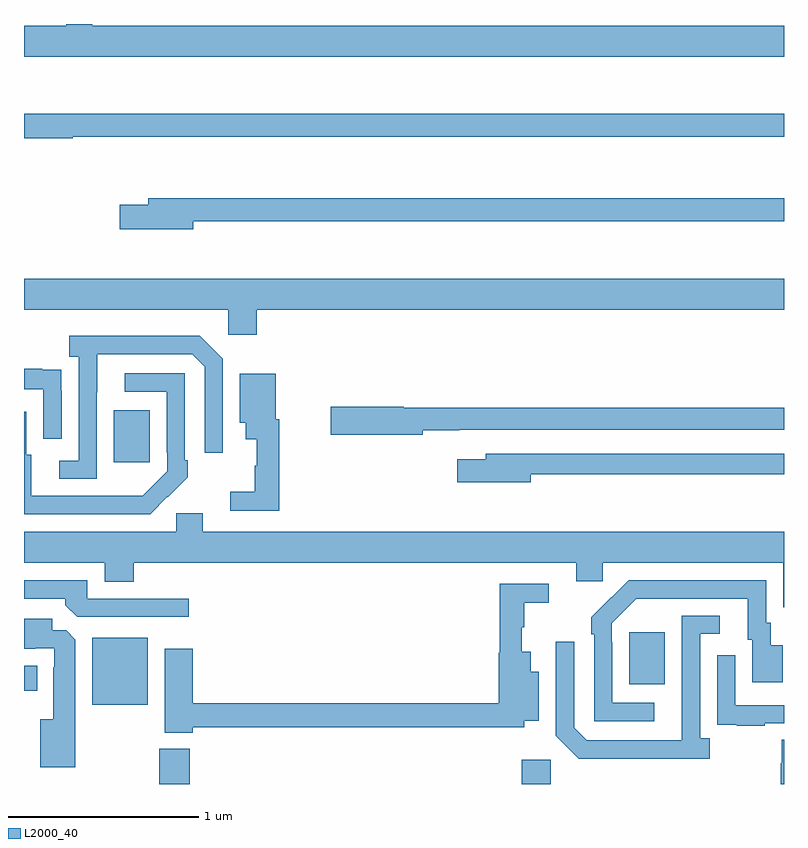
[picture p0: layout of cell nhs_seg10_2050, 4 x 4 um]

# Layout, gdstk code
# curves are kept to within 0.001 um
import gdstk
lib = gdstk.Library(unit=1e-6, precision=1e-09)
def R(c, l, rs):  # rectangles x0, y0, x1, y1
    for r in rs: c.add(gdstk.rectangle(r[:2], r[2:], *l))
def P(c, l, *ps):  # polygons
    for p in ps: c.add(gdstk.Polygon(p, *l))
L2000_40 = (2000, 40)

nhs_seg10_2050 = lib.new_cell('nhs_seg10_2050')
R(nhs_seg10_2050, L2000_40, [(219.712,1284.5,219.872,1284.685), (221.621,1284.5,221.772,1284.628), (219.359,1284.917,219.652,1285.27), (219,1284.992,219.07,1285.123), (222.185,1285.025,222.373,1285.3), (219.473,1286.193,219.661,1286.467)])
P(nhs_seg10_2050, L2000_40, [(223,1288.492),(219.359,1288.492),(219.359,1288.5),(219.223,1288.5),(219.223,1288.492),(219,1288.492),(219,1288.328),(223,1288.328)],
  [(219.256,1287.906),(223,1287.906),(223,1288.027),(219,1288.027),(219,1287.898),(219.256,1287.898)],
  [(219.892,1287.462),(223,1287.462),(223,1287.583),(219.653,1287.583),(219.653,1287.549),(219.504,1287.549),(219.504,1287.419),(219.892,1287.419)],
  [(220.226,1286.996),(223,1286.996),(223,1287.16),(219,1287.16),(219,1286.996),(220.074,1286.996),(220.074,1286.865),(220.226,1286.865)],
  [(219.384,1286.563),(219.385,1286.763),(219.885,1286.763),(219.951,1286.697),(219.951,1286.244),(220.047,1286.244),(220.047,1286.739),(219.926,1286.86),(219.237,1286.86),(219.237,1286.75),(219.288,1286.75),(219.288,1286.202),(219.186,1286.202),(219.186,1286.106),(219.384,1286.106)],
  [(219.198,1286.57),(219.197,1286.57),(219.197,1286.679),(219.095,1286.679),(219.095,1286.686),(219,1286.686),(219,1286.577),(219.102,1286.577),(219.102,1286.316),(219.198,1286.316)],
  [(219.755,1286.011),(219.756,1286.01),(219.861,1286.115),(219.861,1286.203),(219.846,1286.203),(219.846,1286.661),(219.531,1286.661),(219.531,1286.565),(219.75,1286.565),(219.75,1286.245),(219.753,1286.245),(219.753,1286.145),(219.625,1286.017),(219.037,1286.016),(219.037,1286.232),(219.013,1286.232),(219.013,1286.458),(219,1286.458),(219,1285.92),(219.664,1285.92)],
  [(220.343,1286.419),(220.324,1286.419),(220.324,1286.659),(220.136,1286.659),(220.136,1286.402),(220.166,1286.402),(220.166,1286.315),(220.226,1286.315),(220.226,1286.175),(220.215,1286.175),(220.215,1286.039),(220.086,1286.039),(220.086,1285.938),(220.343,1285.938)],
  [(221.098,1286.363),(221.292,1286.363),(221.292,1286.364),(223,1286.364),(223,1286.48),(220.998,1286.48),(220.998,1286.486),(220.614,1286.486),(220.614,1286.339),(221.098,1286.339)],
  [(221.668,1286.13),(223,1286.13),(223,1286.238),(221.429,1286.238),(221.429,1286.209),(221.28,1286.209),(221.28,1286.087),(221.668,1286.087)],
  [(223,1285.828),(219.94,1285.828),(219.94,1285.926),(219.801,1285.926),(219.801,1285.828),(219,1285.828),(219,1285.664),(219.425,1285.664),(219.425,1285.565),(219.578,1285.565),(219.578,1285.664),(221.906,1285.664),(221.906,1285.566),(222.045,1285.566),(222.045,1285.664),(222.995,1285.664),(222.995,1285.429),(223,1285.429)],
  [(219.868,1285.476),(219.333,1285.476),(219.333,1285.572),(219,1285.572),(219,1285.476),(219.218,1285.476),(219.218,1285.442),(219.279,1285.38),(219.868,1285.38)],
  [(222.316,1284.927),(222.096,1284.927),(222.096,1285.247),(222.093,1285.247),(222.093,1285.347),(222.222,1285.476),(222.809,1285.476),(222.809,1285.26),(222.833,1285.26),(222.833,1285.035),(222.994,1285.035),(222.994,1285.231),(222.931,1285.231),(222.931,1285.35),(222.906,1285.35),(222.906,1285.572),(222.182,1285.572),(221.985,1285.377),(221.985,1285.289),(222,1285.289),(222,1284.831),(222.316,1284.831)],
  [(219.887,1284.798),(221.634,1284.798),(221.634,1284.833),(221.71,1284.833),(221.71,1285.09),(221.668,1285.09),(221.668,1285.195),(221.621,1285.195),(221.621,1285.326),(221.632,1285.326),(221.632,1285.453),(221.761,1285.453),(221.761,1285.554),(221.503,1285.554),(221.503,1285.191),(221.498,1285.191),(221.498,1284.926),(219.887,1284.926),(219.887,1285.213),(219.74,1285.213),(219.74,1284.77),(219.887,1284.77)],
  [(222.61,1284.742),(222.558,1284.742),(222.558,1285.29),(222.661,1285.29),(222.661,1285.386),(222.462,1285.386),(222.461,1284.729),(221.961,1284.729),(221.895,1284.795),(221.895,1285.249),(221.799,1285.249),(221.799,1284.753),(221.92,1284.632),(222.61,1284.632)],
  [(219.271,1285.259),(219.222,1285.308),(219.148,1285.308),(219.148,1285.369),(219,1285.369),(219,1285.211),(219.059,1285.211),(219.059,1285.215),(219.159,1285.215),(219.159,1285.115),(219.155,1285.115),(219.155,1284.841),(219.086,1284.841),(219.086,1284.587),(219.271,1284.587)],
  [(222.899,1284.819),(223,1284.819),(223,1284.915),(222.744,1284.915),(222.744,1285.177),(222.648,1285.177),(222.648,1284.922),(222.649,1284.922),(222.649,1284.813),(222.751,1284.813),(222.751,1284.807),(222.899,1284.807)],
  [(223,1284.734),(222.988,1284.734),(222.988,1284.609),(222.983,1284.609),(222.983,1284.5),(223,1284.5)])

lib.write_gds('nhs_seg10_2050.gds')
